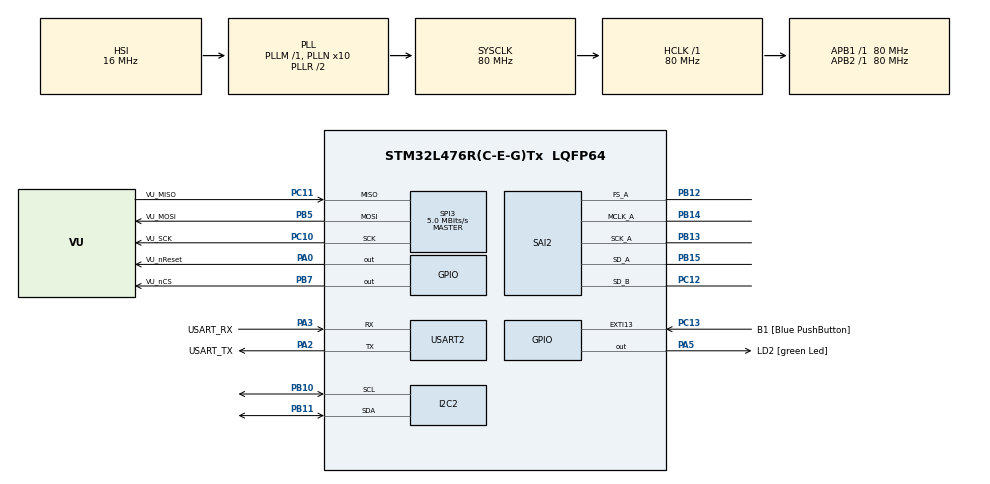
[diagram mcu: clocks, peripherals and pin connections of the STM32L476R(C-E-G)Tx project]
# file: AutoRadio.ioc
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Dma.Request0=SAI2_A
Dma.Request1=SAI2_B
Dma.SAI2_A.0.Direction=DMA_MEMORY_TO_PERIPH
Dma.SAI2_A.0.Instance=DMA1_Channel6
Dma.SAI2_A.0.MemDataAlignment=DMA_MDATAALIGN_WORD
Dma.SAI2_A.0.MemInc=DMA_MINC_ENABLE
Dma.SAI2_A.0.Mode=DMA_CIRCULAR
Dma.SAI2_A.0.PeriphDataAlignment=DMA_PDATAALIGN_WORD
Dma.SAI2_A.0.PeriphInc=DMA_PINC_DISABLE
Dma.SAI2_A.0.Priority=DMA_PRIORITY_LOW
Dma.SAI2_B.1.Direction=DMA_PERIPH_TO_MEMORY
Dma.SAI2_B.1.Instance=DMA1_Channel7
Dma.SAI2_B.1.MemDataAlignment=DMA_MDATAALIGN_WORD
Dma.SAI2_B.1.MemInc=DMA_MINC_ENABLE
Dma.SAI2_B.1.Mode=DMA_CIRCULAR
Dma.SAI2_B.1.PeriphDataAlignment=DMA_PDATAALIGN_WORD
Dma.SAI2_B.1.PeriphInc=DMA_PINC_DISABLE
Dma.SAI2_B.1.Priority=DMA_PRIORITY_LOW
FREERTOS.Tasks01=defaultTask,0,128,StartDefaultTask,Default,NULL,Dynamic,NULL,NULL
I2C2.Timing=0x10D19CE4
Mcu.Family=STM32L4
Mcu.Name=STM32L476R(C-E-G)Tx
Mcu.Package=LQFP64
NVIC.DMA1_Channel6_IRQn=true\:5\:0\:false\:false\:true\:true\:false\:true\:true
NVIC.DMA1_Channel7_IRQn=true\:5\:0\:false\:false\:true\:true\:false\:true\:true
NVIC.PriorityGroup=NVIC_PRIORITYGROUP_4
NVIC.SAI2_IRQn=true\:5\:0\:false\:false\:true\:true\:true\:true\:true
NVIC.USART2_IRQn=true\:5\:0\:false\:false\:true\:true\:true\:true\:true
PA0.GPIO_Label=VU_nReset
PA0.Signal=GPIO_Output
PA13\ (JTMS-SWDIO).GPIO_Label=TMS
PA13\ (JTMS-SWDIO).Mode=Serial_Wire
PA13\ (JTMS-SWDIO).Signal=SYS_JTMS-SWDIO
PA14\ (JTCK-SWCLK).GPIO_Label=TCK
PA14\ (JTCK-SWCLK).Mode=Serial_Wire
PA14\ (JTCK-SWCLK).Signal=SYS_JTCK-SWCLK
PA2.GPIO_Label=USART_TX
PA2.GPIO_Mode=GPIO_MODE_AF_PP
PA2.GPIO_PuPd=GPIO_NOPULL
PA2.GPIO_Speed=GPIO_SPEED_FREQ_VERY_HIGH
PA2.Mode=Asynchronous
PA2.Signal=USART2_TX
PA3.GPIO_Label=USART_RX
PA3.GPIO_Mode=GPIO_MODE_AF_PP
PA3.GPIO_PuPd=GPIO_NOPULL
PA3.GPIO_Speed=GPIO_SPEED_FREQ_VERY_HIGH
PA3.Mode=Asynchronous
PA3.Signal=USART2_RX
PA5.GPIO_Label=LD2 [green Led]
PA5.GPIO_ModeDefaultOutputPP=GPIO_MODE_OUTPUT_PP
PA5.GPIO_PuPd=GPIO_NOPULL
PA5.GPIO_Speed=GPIO_SPEED_FREQ_LOW
PA5.Signal=GPIO_Output
PB10.Mode=I2C
PB10.Signal=I2C2_SCL
PB11.Mode=I2C
PB11.Signal=I2C2_SDA
PB12.Mode=SAI_A_MasterWithClock
PB12.Signal=SAI2_FS_A
PB13.Mode=SAI_A_MasterWithClock
PB13.Signal=SAI2_SCK_A
PB14.Mode=SAI_A_MasterWithClock
PB14.Signal=SAI2_MCLK_A
PB15.Mode=SAI_A_MasterWithClock
PB15.Signal=SAI2_SD_A
PB3\ (JTDO-TRACESWO).GPIO_Label=SWO
PB3\ (JTDO-TRACESWO).Signal=SYS_JTDO-SWO
PB5.GPIO_Label=VU_MOSI
PB5.Mode=Full_Duplex_Master
PB5.Signal=SPI3_MOSI
PB7.GPIO_Label=VU_nCS
PB7.PinState=GPIO_PIN_SET
PB7.Signal=GPIO_Output
PC10.GPIO_Label=VU_SCK
PC10.Mode=Full_Duplex_Master
PC10.Signal=SPI3_SCK
PC11.GPIO_Label=VU_MISO
PC11.Mode=Full_Duplex_Master
PC11.Signal=SPI3_MISO
PC12.Mode=SAI_B_SyncSlave
PC12.Signal=SAI2_SD_B
PC13.GPIO_Label=B1 [Blue PushButton]
PC13.GPIO_ModeDefaultEXTI=GPIO_MODE_IT_FALLING
PC13.GPIO_PuPd=GPIO_NOPULL
PC13.Signal=GPXTI13
PC14-OSC32_IN\ (PC14).Mode=LSE-External-Oscillator
PC14-OSC32_IN\ (PC14).Signal=RCC_OSC32_IN
PC15-OSC32_OUT\ (PC15).Mode=LSE-External-Oscillator
PC15-OSC32_OUT\ (PC15).Signal=RCC_OSC32_OUT
PH0-OSC_IN\ (PH0).Signal=RCC_OSC_IN
PH1-OSC_OUT\ (PH1).Signal=RCC_OSC_OUT
ProjectManager.HeapSize=0x200
ProjectManager.StackSize=0x400
ProjectManager.TargetToolchain=CMake
RCC.ADCFreq_Value=104000000
RCC.AHBFreq_Value=80000000
RCC.APB1Freq_Value=80000000
RCC.APB1TimFreq_Value=80000000
RCC.APB2Freq_Value=80000000
RCC.APB2TimFreq_Value=80000000
RCC.CortexFreq_Value=80000000
RCC.HCLKFreq_Value=80000000
RCC.HSE_VALUE=8000000
RCC.HSI_VALUE=16000000
RCC.MSI_VALUE=4000000
RCC.PLLN=10
RCC.PLLSAI1N=13
RCC.PLLSAI1P=RCC_PLLP_DIV17
RCC.PLLSourceVirtual=RCC_PLLSOURCE_HSI
RCC.PREFETCH_ENABLE=1
RCC.SYSCLKFreq_VALUE=80000000
RCC.SYSCLKSource=RCC_SYSCLKSOURCE_PLLCLK
RCC.USBFreq_Value=104000000
RCC.VCOOutputFreq_Value=160000000
SAI2.AudioFrequency-SAI_A_MasterWithClock=SAI_AUDIO_FREQUENCY_48K
SAI2.ErrorAudioFreq-SAI_A_MasterWithClock=-0.42 %
SAI2.InitProtocol-SAI_A_MasterWithClock=Enable
SAI2.InitProtocol-SAI_B_SyncSlave=Enable
SAI2.Instance-SAI_A_MasterWithClock=SAI$Index_Block_A
SAI2.Instance-SAI_B_SyncSlave=SAI$Index_Block_B
SAI2.MClockEnable-SAI_A_MasterWithClock=SAI_MASTERCLOCK_ENABLE
SAI2.RealAudioFreq-SAI_A_MasterWithClock=47.794 KHz
SAI2.VirtualMode-SAI_A_MasterWithClock=VM_MASTER
SAI2.VirtualMode-SAI_B_SyncSlave=VM_SLAVE
SAI2.VirtualProtocol-SAI_A_BASIC=VM_BASIC_PROTOCOL
SAI2.VirtualProtocol-SAI_B_BASIC=VM_BASIC_PROTOCOL
SPI3.BaudRatePrescaler=SPI_BAUDRATEPRESCALER_16
SPI3.CalculateBaudRate=5.0 MBits/s
SPI3.DataSize=SPI_DATASIZE_8BIT
SPI3.Direction=SPI_DIRECTION_2LINES
SPI3.Mode=SPI_MODE_MASTER
SPI3.VirtualType=VM_MASTER
USART2.VirtualMode-Asynchronous=VM_ASYNC
VP_FREERTOS_VS_CMSIS_V1.Mode=CMSIS_V1
VP_SAI2_VP_$IpInstance_SAIA_SAI_BASIC.Mode=SAI_A_BASIC
VP_SAI2_VP_$IpInstance_SAIB_SAI_BASIC.Mode=SAI_B_BASIC
board=NUCLEO-L476RG

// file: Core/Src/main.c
/* USER CODE BEGIN Header */
/**
  ******************************************************************************
  * @file           : main.c
  * @brief          : Main program body
  ******************************************************************************
  * @attention
  *
  * Copyright (c) 2025 STMicroelectronics.
  * All rights reserved.
  *
  * This software is licensed under terms that can be found in the LICENSE file
  * in the root directory of this software component.
  * If no LICENSE file comes with this software, it is provided AS-IS.
  *
  ******************************************************************************
  */
/* USER CODE END Header */
#include "main.h"
#include "cmsis_os.h"
#include "dma.h"
#include "i2c.h"
#include "sai.h"
#include "spi.h"
#include "stm32l4xx_hal_sai.h"
#include "usart.h"
#include "gpio.h"

/* USER CODE BEGIN Includes */
#include <stdio.h>
#include "shell.h"
#include "MCP23S17.h"
#include "sgtl5000.h"
/* USER CODE END Includes */

/* USER CODE BEGIN PV */
extern SemaphoreHandle_t sem_uart_rx;
/* USER CODE END PV */

void SystemClock_Config(void);
void PeriphCommonClock_Config(void);
void MX_FREERTOS_Init(void);

/* USER CODE BEGIN 0 */
int __io_putchar(int ch)
{
  HAL_UART_Transmit(&huart2, (uint8_t *)&ch, 1, HAL_MAX_DELAY);
  return ch;
}

void HAL_UART_RxCpltCallback(UART_HandleTypeDef *huart){
  if(huart->Instance == USART2){
    shell_uart_rx_callback();
  }

}

void HAL_SAI_RxCpltCallback(SAI_HandleTypeDef *hsai)
{
    if(hsai->Instance == hsai_BlockA2.Instance)
    {
    }
}

void HAL_SAI_TxCpltCallback(SAI_HandleTypeDef *hsai)
{
    if(hsai->Instance == hsai_BlockA2.Instance)
    {
    }
}

// void task_shell(void *unsued) {
//   shell_init();
//   shell_run();
// }

void task_led_expender(void *unused) {
  MCP23S17_Init();
  printf("MCP23S17 Initialized\r\n");
  while(1) {
    MCP23S17_WriteGPIOA(0xFF);
    MCP23S17_WriteGPIOB(0xFF);
    // vTaskDelay(500 / portTICK_PERIOD_MS);
    MCP23S17_WriteGPIOA(0x7F);
    MCP23S17_WriteGPIOB(0x7F);
    Read_CODEC_ChipID();

  }
  // MCP23S17_WriteGPIOA(0x00);
  // MCP23S17_WriteGPIOB(0x00);
}

uint8_t rx_buffer[AUDIO_BUFFER_SIZE];
uint8_t tx_buffer[AUDIO_BUFFER_SIZE];

void sgtl5000_task(void *unused) {
  sgtl5000_init();
  printf("SGTL5000 Initialized\r\n");
  sgtl5000_generate_triangle(tx_buffer, AUDIO_BUFFER_SIZE);
  HAL_SAI_Transmit_DMA(&hsai_BlockA2, tx_buffer, sizeof(tx_buffer));

  // sgtl5000_start_SAI();

  while(1) {
    vTaskDelay(1000 / portTICK_PERIOD_MS);
  }
}

/* USER CODE END 0 */

int main(void)
{

  /* MCU Configuration--------------------------------------------------------*/

  /* Reset of all peripherals, Initializes the Flash interface and the Systick. */
  HAL_Init();

  /* Configure the system clock */
  SystemClock_Config();

  /* Configure the peripherals common clocks */
  PeriphCommonClock_Config();

  /* Initialize all configured peripherals */
  MX_GPIO_Init();
  MX_DMA_Init();
  MX_USART2_UART_Init();
  MX_SPI3_Init();
  MX_I2C2_Init();
  MX_SAI2_Init();
  /* USER CODE BEGIN 2 */
  __HAL_SAI_ENABLE(&hsai_BlockA2);

  //Question 5.a: Make the shell functional in a task

  // if(xTaskCreate(task_shell, "Shell Task", 512, NULL, 1, NULL) != pdPASS) {
  //   printf("Failed to create Shell Task\r\n");
  //   Error_Handler();
  // }

  //2 - GPIO Expander et VU-Metre

  //2.2.1 - Tests Faire clignoter une LED via le GPIO Expander

  if(xTaskCreate(task_led_expender, "Task LED Expender", 256, NULL, 1, NULL) != pdPASS) {
    printf("Failed to  led expender task\r\n");
    Error_Handler();
  }

  if(xTaskCreate(sgtl5000_task, "sgtl5000 Task", 256, NULL, 1, NULL) != pdPASS) {
    printf("Failed to create sgtl5000 Task\r\n");
    Error_Handler();
  }

  vTaskStartScheduler();
  /* USER CODE END 2 */

  /* Call init function for freertos objects (in cmsis_os2.c) */
  MX_FREERTOS_Init();

  /* Start scheduler */
  osKernelStart();

  /* We should never get here as control is now taken by the scheduler */

  /* Infinite loop */
  /* USER CODE BEGIN WHILE */
  while (1)
  {

    //Question 2: Toggle the state of the LED2 every 500 ms
    // HAL_GPIO_TogglePin(LD2_GPIO_Port, LD2_Pin);
    // HAL_Delay(500);

    //Question 3: Transmit "Hello World!" via UART2 every 1 second
    // char msg[] = "Hello World!\r\n";
    // HAL_UART_Transmit(&huart2, (uint8_t*)msg, sizeof(msg)-1, HAL_MAX_DELAY);
    // HAL_Delay(1000);

    //Question 4: Use printf to transmit "Hello World!" via UART2 every 1 second
    // printf("Printf working!\r\n");
    // HAL_Delay(1000);

    /* USER CODE END WHILE */

  }
}

void SystemClock_Config(void)
{
  RCC_OscInitTypeDef RCC_OscInitStruct = {0};
  RCC_ClkInitTypeDef RCC_ClkInitStruct = {0};

  /** Configure the main internal regulator output voltage
  */
  if (HAL_PWREx_ControlVoltageScaling(PWR_REGULATOR_VOLTAGE_SCALE1) != HAL_OK)
  {
    Error_Handler();
  }

  /** Initializes the RCC Oscillators according to the specified parameters
  * in the RCC_OscInitTypeDef structure.
  */
  RCC_OscInitStruct.OscillatorType = RCC_OSCILLATORTYPE_HSI;
  RCC_OscInitStruct.HSIState = RCC_HSI_ON;
  RCC_OscInitStruct.HSICalibrationValue = RCC_HSICALIBRATION_DEFAULT;
  RCC_OscInitStruct.PLL.PLLState = RCC_PLL_ON;
  RCC_OscInitStruct.PLL.PLLSource = RCC_PLLSOURCE_HSI;
  RCC_OscInitStruct.PLL.PLLM = 1;
  RCC_OscInitStruct.PLL.PLLN = 10;
  RCC_OscInitStruct.PLL.PLLP = RCC_PLLP_DIV7;
  RCC_OscInitStruct.PLL.PLLQ = RCC_PLLQ_DIV2;
  RCC_OscInitStruct.PLL.PLLR = RCC_PLLR_DIV2;
  if (HAL_RCC_OscConfig(&RCC_OscInitStruct) != HAL_OK)
  {
    Error_Handler();
  }

  /** Initializes the CPU, AHB and APB buses clocks
  */
  RCC_ClkInitStruct.ClockType = RCC_CLOCKTYPE_HCLK|RCC_CLOCKTYPE_SYSCLK
                              |RCC_CLOCKTYPE_PCLK1|RCC_CLOCKTYPE_PCLK2;
  RCC_ClkInitStruct.SYSCLKSource = RCC_SYSCLKSOURCE_PLLCLK;
  RCC_ClkInitStruct.AHBCLKDivider = RCC_SYSCLK_DIV1;
  RCC_ClkInitStruct.APB1CLKDivider = RCC_HCLK_DIV1;
  RCC_ClkInitStruct.APB2CLKDivider = RCC_HCLK_DIV1;

  if (HAL_RCC_ClockConfig(&RCC_ClkInitStruct, FLASH_LATENCY_4) != HAL_OK)
  {
    Error_Handler();
  }
}

void PeriphCommonClock_Config(void)
{
  RCC_PeriphCLKInitTypeDef PeriphClkInit = {0};

  /** Initializes the peripherals clock
  */
  PeriphClkInit.PeriphClockSelection = RCC_PERIPHCLK_SAI2;
  PeriphClkInit.Sai2ClockSelection = RCC_SAI2CLKSOURCE_PLLSAI1;
  PeriphClkInit.PLLSAI1.PLLSAI1Source = RCC_PLLSOURCE_HSI;
  PeriphClkInit.PLLSAI1.PLLSAI1M = 1;
  PeriphClkInit.PLLSAI1.PLLSAI1N = 13;
  PeriphClkInit.PLLSAI1.PLLSAI1P = RCC_PLLP_DIV17;
  PeriphClkInit.PLLSAI1.PLLSAI1Q = RCC_PLLQ_DIV2;
  PeriphClkInit.PLLSAI1.PLLSAI1R = RCC_PLLR_DIV2;
  PeriphClkInit.PLLSAI1.PLLSAI1ClockOut = RCC_PLLSAI1_SAI1CLK;
  if (HAL_RCCEx_PeriphCLKConfig(&PeriphClkInit) != HAL_OK)
  {
    Error_Handler();
  }
}

void Error_Handler(void)
{
  __disable_irq();
  while (1)
  {
  }
}
